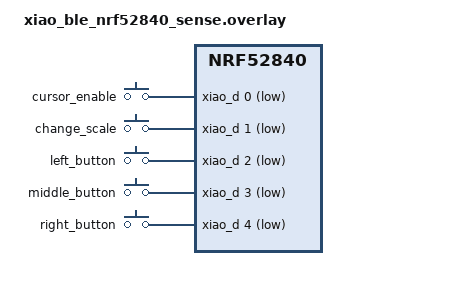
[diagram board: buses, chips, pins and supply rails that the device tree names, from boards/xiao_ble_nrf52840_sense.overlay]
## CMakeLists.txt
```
cmake_minimum_required(VERSION 3.28.0)

find_package(Zephyr REQUIRED HINTS $ENV{ZEPHYR_BASE})
project(xiao-ble_mouse)

target_sources(app PRIVATE src/main.c)
```

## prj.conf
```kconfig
# Config
CONFIG_SYSTEM_WORKQUEUE_STACK_SIZE=2048
CONFIG_GPIO=y

# Bluetooth
CONFIG_BT=y
CONFIG_BT_PERIPHERAL=y
CONFIG_BT_PERIPHERAL_PREF_MIN_INT=6
CONFIG_BT_PERIPHERAL_PREF_MAX_INT=12
CONFIG_BT_PERIPHERAL_PREF_LATENCY=0
CONFIG_BT_PERIPHERAL_PREF_TIMEOUT=400
CONFIG_BT_BAS=y
CONFIG_BT_SMP=y
CONFIG_BT_DIS=y
CONFIG_BT_DEVICE_NAME="XIAO_BLE_MOUSE"
CONFIG_BT_DEVICE_APPEARANCE=962

# I2C
CONFIG_I2C=y
CONFIG_SENSOR=y
CONFIG_LSM6DSL_TRIGGER_GLOBAL_THREAD=y

# Log
CONFIG_LOG=y
CONFIG_LOG_MODE_DEFERRED=y
CONFIG_CBPRINTF_FP_SUPPORT=y
```

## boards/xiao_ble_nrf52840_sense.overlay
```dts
/ {
    aliases {
        cursor-enable-button = &cursor_enable;
        change-scale-button = &change_scale;
        left-button = &left_button;
        middle-button = &middle_button;
        right-button = &right_button;
    };

    buttons {
        compatible = "gpio-keys";

        cursor_enable: button_0 {
            gpios = <&xiao_d 0 (GPIO_PULL_UP | GPIO_ACTIVE_LOW)>;
        };

        change_scale: button_1 {
            gpios = <&xiao_d 1 (GPIO_PULL_UP | GPIO_ACTIVE_LOW)>;
        };

        left_button: button_2 {
            gpios = <&xiao_d 2 (GPIO_PULL_UP | GPIO_ACTIVE_LOW)>;
        };

        middle_button: button_3 {
            gpios = <&xiao_d 3 (GPIO_PULL_UP | GPIO_ACTIVE_LOW)>;
        };

        right_button: button_4 {
            gpios = <&xiao_d 4 (GPIO_PULL_UP | GPIO_ACTIVE_LOW)>;
        };
    };
};
```

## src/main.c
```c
#include <stdint.h>
#include <stdlib.h>
#include <zephyr/kernel.h>
#include <zephyr/device.h>
#include <zephyr/drivers/gpio.h>
#include <zephyr/drivers/sensor.h>
#include <zephyr/bluetooth/gatt.h>
#include <zephyr/bluetooth/conn.h>

#include "ble_hid.c"

#define STACK_SIZE 1024
#define PRIORITY 7
#define SENSOR_POLL_INTERVAL_MS 10
#define CURSOR_DEADZONE 0.05

#define CHANGE_SCALE_BUTTON_PUSHED (1U << 0)
#define LEFT_BUTTON_PUSHED (1U << 0)
#define MIDDLE_BUTTON_PUSHED (1U << 1)
#define RIGHT_BUTTON_PUSHED (1U << 2)

static const struct gpio_dt_spec cursor_enable_button = GPIO_DT_SPEC_GET(DT_ALIAS(cursor_enable_button), gpios);
static const struct gpio_dt_spec change_scale_button = GPIO_DT_SPEC_GET(DT_ALIAS(change_scale_button), gpios);
static const struct gpio_dt_spec left_button = GPIO_DT_SPEC_GET(DT_ALIAS(left_button), gpios);
static const struct gpio_dt_spec middle_button = GPIO_DT_SPEC_GET(DT_ALIAS(middle_button), gpios);
static const struct gpio_dt_spec right_button = GPIO_DT_SPEC_GET(DT_ALIAS(right_button), gpios);
static const double scale[3] = {10, 50, 100};

static uint8_t scale_index = 0;
static uint8_t is_push;

struct sensor_data {
    struct {
        struct sensor_value x;
        struct sensor_value y;
        struct sensor_value z;
    } gyro_data;
    struct {
        struct sensor_value x;
        struct sensor_value y;
        struct sensor_value z;
    } accel_data;
};

static void auth_passkey_display(struct bt_conn *conn, unsigned int passkey)
{
    printk("Passkey for %s: %06u\n", bt_conn_dst_str(conn), passkey);
}

static void auth_cancel(struct bt_conn *conn)
{
    printk("Pairing cancelled: %s\n", bt_conn_dst_str(conn));
}

static struct bt_conn_auth_cb auth_cb_display = {
    .passkey_display = auth_passkey_display,
    .passkey_entry = NULL,
    .cancel = auth_cancel
};

K_MSGQ_DEFINE_STATIC(imu_msgq, sizeof(struct sensor_data), 10, 4);

static const struct device *const lsm6dsl_dev = DEVICE_DT_GET_ONE(st_lsm6dsl);

void get_lsm6dsl_value()
{
    struct sensor_value odr_attr;
    struct sensor_data imu_set;
    int err;

    if (!device_is_ready(lsm6dsl_dev)) {
        printk("sensor: device is not ready yet.\n");
        return;
    }

    odr_attr.val1 = 104;
    odr_attr.val2 = 0;

    err = sensor_attr_set(
        lsm6dsl_dev,
        SENSOR_CHAN_GYRO_XYZ,
        SENSOR_ATTR_SAMPLING_FREQUENCY,
        &odr_attr);
    if (err < 0) {
            printk("Could not set sensor type and channel.\n");
            return;
        }
    err = sensor_attr_set(
        lsm6dsl_dev,
        SENSOR_CHAN_ACCEL_XYZ,
        SENSOR_ATTR_SAMPLING_FREQUENCY,
        &odr_attr);
    if (err < 0) {
            printk("Could not set sensor type and channel.\n");
            return;
        }
    while(1) {
        sensor_sample_fetch(lsm6dsl_dev);
        sensor_channel_get(lsm6dsl_dev, SENSOR_CHAN_GYRO_X, &imu_set.gyro_data.x);
        sensor_channel_get(lsm6dsl_dev, SENSOR_CHAN_GYRO_Y, &imu_set.gyro_data.y);
        sensor_channel_get(lsm6dsl_dev, SENSOR_CHAN_GYRO_Z, &imu_set.gyro_data.z);
        sensor_channel_get(lsm6dsl_dev, SENSOR_CHAN_ACCEL_X, &imu_set.accel_data.x);
        sensor_channel_get(lsm6dsl_dev, SENSOR_CHAN_ACCEL_Y, &imu_set.accel_data.y);
        sensor_channel_get(lsm6dsl_dev, SENSOR_CHAN_ACCEL_Z, &imu_set.accel_data.z);
        k_msgq_put(&imu_msgq, &imu_set, K_NO_WAIT);
        //printk("gyro_x: %d.%d gyro_y: %d.%d gyro_z:%d.%d\n",
        //    gyro_set.x.val1, gyro_set.x.val2,
        //    gyro_set.y.val1, gyro_set.y.val2,
        //    gyro_set.z.val1, gyro_set.z.val2);
        //printk("accel_x: %d.%d accel_y: %d.%d accel_z:%d.%d\n",
        //    imu_set.accel_data.x.val1, imu_set.accel_data.x.val2,
        //    imu_set.accel_data.y.val1, imu_set.accel_data.y.val2,
        //    imu_set.accel_data.z.val1, imu_set.accel_data.z.val2);

        k_msleep(SENSOR_POLL_INTERVAL_MS);
    }
}

void change_scale()
{
    if (is_push & CHANGE_SCALE_BUTTON_PUSHED) {
        return;
    }
    scale_index += 1;
    uint8_t scale_size = sizeof(scale) / sizeof(scale[0]);
    if (scale_index >= scale_size){
        scale_index = 0;
    }
    is_push |= CHANGE_SCALE_BUTTON_PUSHED;
}

int8_t calculate_cursor_movement(const struct sensor_value *gyro, const struct sensor_value *accel)
{
    double g_sign = 1.0;
    if (gyro->val1 < 0 || gyro->val2 < 0) g_sign = -1.0;

    double g_val = labs(gyro->val1) + labs(gyro->val2) / 1000000.0;
    double a_val = labs(accel->val1) + labs(accel->val2) / 1000000.0;

    if (g_val < CURSOR_DEADZONE) {
        return 0;
    }

    double dynamic_scale = scale[scale_index] + (a_val * 5.0);
    if (dynamic_scale > scale[scale_index] * 3.0) dynamic_scale = scale[scale_index] * 3.0;

    double movement = g_sign * g_val * dynamic_scale;

    if (movement > 127.0) {
        return 127;
    } else if (movement < -128.0){
        return -128;
    }

    return (int8_t)movement;
}

uint8_t mouse_button_read()
{
    static uint8_t mouse_button_state = 0;

    if (gpio_pin_get_dt(&left_button)){
        mouse_button_state |= LEFT_BUTTON_PUSHED;
    } else {
        mouse_button_state &= ~LEFT_BUTTON_PUSHED;
    }

    if (gpio_pin_get_dt(&middle_button)){
        mouse_button_state |= MIDDLE_BUTTON_PUSHED;
    } else {
        mouse_button_state &= ~MIDDLE_BUTTON_PUSHED;
    }

    if (gpio_pin_get_dt(&right_button)){
        mouse_button_state |= RIGHT_BUTTON_PUSHED;
    } else {
        mouse_button_state &= ~RIGHT_BUTTON_PUSHED;
    }

    return mouse_button_state;
}

void send_hid_report()
{
    int err;
    struct sensor_data imu_get;

    gpio_pin_configure_dt(&cursor_enable_button, GPIO_INPUT);
    gpio_pin_configure_dt(&change_scale_button, GPIO_INPUT);
    gpio_pin_configure_dt(&left_button, GPIO_INPUT);
    gpio_pin_configure_dt(&middle_button, GPIO_INPUT);
    gpio_pin_configure_dt(&right_button, GPIO_INPUT);

    err = bt_enable(bt_ready);
    if (err) {
        printk("Bluetooth init failed (err %d)\n", err);
        return;
    }

    if (IS_ENABLED(CONFIG_SAMPLE_BT_USE_AUTHENTICATION)) {
        bt_conn_auth_cb_register(&auth_cb_display);
        printk("Bluetooth authentication callbacks registered.\n");
    }

    while(1){
        if (gpio_pin_get_dt(&change_scale_button)) {
            change_scale();
        } else {
            is_push &= ~CHANGE_SCALE_BUTTON_PUSHED;
        }


        k_msgq_get(&imu_msgq, &imu_get, K_FOREVER);
        int is_cursor = gpio_pin_get_dt(&cursor_enable_button);
        if (is_cursor != 0) {
            imu_get.gyro_data.y.val1 = 0;
            imu_get.gyro_data.y.val2 = 0;
            imu_get.gyro_data.z.val1 = 0;
            imu_get.gyro_data.z.val2 = 0;
        }

        send_mouse_report(
            -calculate_cursor_movement(&imu_get.gyro_data.z, &imu_get.accel_data.z),
            -calculate_cursor_movement(&imu_get.gyro_data.y, &imu_get.accel_data.y),
            mouse_button_read(),0);
    }
}

K_THREAD_DEFINE(get_lsm6dsl_value_id, STACK_SIZE, get_lsm6dsl_value, NULL, NULL, NULL, PRIORITY, 0, 0);
K_THREAD_DEFINE(send_hid_report_id, STACK_SIZE, send_hid_report, NULL, NULL, NULL, PRIORITY, 0, 0);
```

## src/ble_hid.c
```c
#include "zephyr/kernel.h"
#include "zephyr/sys/util.h"
#include <zephyr/bluetooth/bluetooth.h>
#include <zephyr/bluetooth/hci.h>
#include <zephyr/bluetooth/uuid.h>
#include <zephyr/bluetooth/gatt.h>
#include <zephyr/bluetooth/conn.h>
#include <zephyr/settings/settings.h>

static const struct bt_data ad[] = {
    BT_DATA_BYTES(BT_DATA_FLAGS, (BT_LE_AD_GENERAL | BT_LE_AD_NO_BREDR)),
    BT_DATA_BYTES(
        BT_DATA_UUID16_ALL,
        BT_UUID_16_ENCODE(BT_UUID_HIDS_VAL),
        BT_UUID_16_ENCODE(BT_UUID_BAS_VAL)),
};

static const struct bt_data sd[] = {
    BT_DATA(
        BT_DATA_NAME_COMPLETE,
        CONFIG_BT_DEVICE_NAME, sizeof(CONFIG_BT_DEVICE_NAME)-1)
};

static const uint8_t report_desc[] = {
    0x05, 0x01,       // Usage Page (Generic Desktop)
    0x09, 0x02,       // Usage (Mouse)
    0xA1, 0x01,       // Collection (Application)
    0x85, 0x01,       // Report ID (ID 1)
    0x09, 0x01,       // Usage (Pointer)
    0xA1, 0x00,       // Collection (Physical)
    0x05, 0x09,       // Usage Page (Button)
    0x19, 0x01,       // Usage Minimum (Button 1)
    0x29, 0x03,       // Usage Maximum (Button 3)
    0x15, 0x00,       // Logical Minimum (0)
    0x25, 0x01,       // Logical Maximum (1)
    0x75, 0x01,       // Report Size (1)
    0x95, 0x03,       // Report Count (3)
    0x81, 0x02,       // Input (Data, Var, Abs)
    0x75, 0x01,       // Report Size (1)
    0x95, 0x05,       // Report Count (5)
    0x81, 0x03,       // Input (Const, Var, Abs)
    0x05, 0x01,       // Usage Page (Generic Desktop)
    0x09, 0x30,       // Usage (X)
    0x09, 0x31,       // Usage (Y)
    0x09, 0x38,       // Usage (Wheel)
    0x15, 0x80,       // Logical Minimum (-128)
    0x25, 0x7F,       // Logical Maximum (127)
    0x75, 0x08,       // Report Size (8)
    0x95, 0x03,       // Report Count (3)
    0x81, 0x06,       // Input (Data, Var, Rel)
    0xC0,             // End Collection
    0xC0              // End Collection
};

struct hids_info {
    uint16_t version;
    uint8_t code;
    uint8_t flags;
} __packed;

struct hids_report {
    uint8_t id;
    uint8_t type;
} __packed;

static struct hids_info info = {
    .version = 0x0000,
    .code = 0x00,
    .flags = BIT(1)
};

static uint8_t simulate_input;
static uint8_t ctrl_point;

static ssize_t read_info(
    struct bt_conn *conn,
    const struct bt_gatt_attr *attr, void *buf,
    uint16_t len, uint16_t offset)
{
    return bt_gatt_attr_read(
        conn, attr, buf, len, offset, attr->user_data,
        sizeof(struct hids_info));
}

static ssize_t read_report_map(
    struct bt_conn *conn, const struct bt_gatt_attr *attr,
    void *buf, uint16_t len, uint16_t offset)
{
    return bt_gatt_attr_read(
        conn, attr, buf, len, offset, report_desc, sizeof(report_desc));
}

static ssize_t read_input_report(
    struct bt_conn *conn, const struct bt_gatt_attr *attr,
    void *buf, uint16_t len, uint16_t offset)
{
    return bt_gatt_attr_read(conn, attr, buf, len, offset, NULL, 0);
}

static ssize_t read_report(
    struct bt_conn *conn, const struct bt_gatt_attr *attr,
    void *buf, uint16_t len, uint16_t offset)
{
    return bt_gatt_attr_read(
        conn, attr, buf, len, offset, attr->user_data,
        sizeof(struct hids_report));
}

static void input_ccc_changed(const struct bt_gatt_attr *attr, uint16_t value)
{
    simulate_input = (value == BT_GATT_CCC_NOTIFY)? 1 : 0;
}

static struct hids_report input = {
    .id = 0x01,
    .type = 0x01
};

static ssize_t write_ctrl_point(
    struct bt_conn *conn, const struct bt_gatt_attr *attr,
    const void *buf, uint16_t len, uint16_t offset, uint8_t flags)
{
    uint8_t *value = attr->user_data;

    if (offset + len > sizeof(ctrl_point)) {
        return BT_GATT_ERR(BT_ATT_ERR_INVALID_OFFSET);
    }

    memcpy(value + offset, buf, len);

    return len;
}

BT_GATT_SERVICE_DEFINE(hog_svc,
    BT_GATT_PRIMARY_SERVICE(BT_UUID_HIDS),
    BT_GATT_CHARACTERISTIC(
        BT_UUID_HIDS_INFO, BT_GATT_CHRC_READ,
        BT_GATT_PERM_READ, read_info, NULL, &info),
    BT_GATT_CHARACTERISTIC(
        BT_UUID_HIDS_REPORT_MAP, BT_GATT_CHRC_READ,
        BT_GATT_PERM_READ, read_report_map, NULL, NULL),
    BT_GATT_CHARACTERISTIC(
        BT_UUID_HIDS_REPORT,
        BT_GATT_CHRC_READ | BT_GATT_CHRC_NOTIFY,
        BT_GATT_PERM_READ, read_input_report, NULL, NULL),
    BT_GATT_CCC(
        input_ccc_changed,
        BT_GATT_PERM_READ | BT_GATT_PERM_WRITE),
    BT_GATT_DESCRIPTOR(
        BT_UUID_HIDS_REPORT_REF, BT_GATT_PERM_READ,
        read_report, NULL, &input),
    BT_GATT_CHARACTERISTIC(
        BT_UUID_HIDS_CTRL_POINT, BT_GATT_CHRC_WRITE_WITHOUT_RESP,
        BT_GATT_PERM_WRITE, NULL, write_ctrl_point, &ctrl_point),
);

static struct k_work adv_work;

static void restart_adv_handler(struct k_work *work)
{
    int err = bt_le_adv_start(BT_LE_ADV_CONN_FAST_1, ad, ARRAY_SIZE(ad), sd, ARRAY_SIZE(sd));
    if (err) printk("Failed to restart advertising. (err %d)\n", err);
    else printk("Advertising restarted successfully\n");
}

static void connected(struct bt_conn *conn, uint8_t err)
{
    if (err) printk("Connection failed Error.\n");
    else printk("Connected\n");
}

static void disconnected(struct bt_conn *conn, uint8_t reason)
{
    printk("Disconnected.\n");

    k_work_submit(&adv_work);
}

BT_CONN_CB_DEFINE(conn_callbacks) ={
    .connected = connected,
    .disconnected = disconnected
};

void bt_ready(int err)
{
    k_work_init(&adv_work, restart_adv_handler);
    if (err) {
        printk("Bluetooth init failed (err %d)\n", err);
        return;
    }

    if (IS_ENABLED(CONFIG_SETTINGS)) {
        settings_load();
    }

    err = bt_le_adv_start(BT_LE_ADV_CONN_FAST_1, ad, ARRAY_SIZE(ad), sd, ARRAY_SIZE(sd));
    if (err) {
        printk("Advertising failed to start (err %d)\n", err);
        return;
    }

    printk("Advertising successfully started\n");
}

void send_mouse_report(int8_t x, int8_t y, uint8_t buttons, int8_t wheel)
{
    uint8_t report[4] = {buttons, (uint8_t)x, (uint8_t)y, (uint8_t)wheel};
    if (simulate_input){
        bt_gatt_notify(NULL, &hog_svc.attrs[5], report, sizeof(report));
        printk("Send butons: %d x: %d y: %d \n", report[0], report[1], report[2]);
    }
}
```
